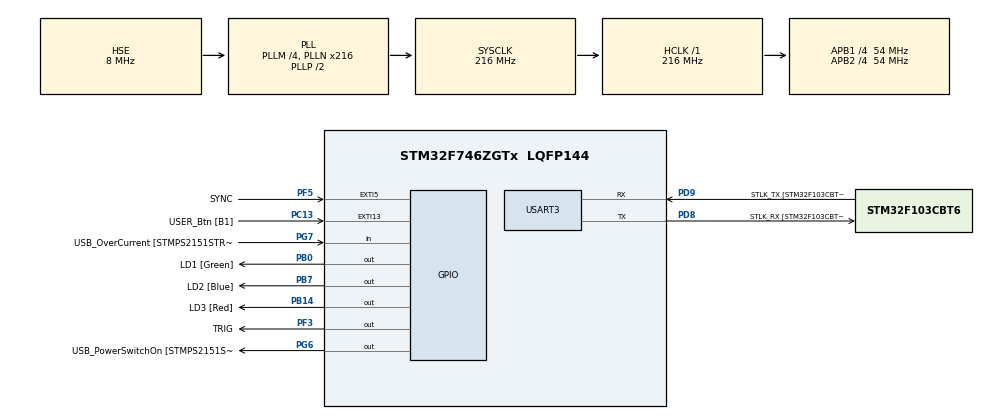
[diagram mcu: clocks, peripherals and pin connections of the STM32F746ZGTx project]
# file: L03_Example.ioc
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Mcu.Family=STM32F7
Mcu.Name=STM32F746ZGTx
Mcu.Package=LQFP144
NVIC.EXTI15_10_IRQn=true\:0\:0\:false\:false\:true\:true\:true\:true
NVIC.EXTI9_5_IRQn=true\:0\:0\:false\:false\:true\:true\:true\:true
NVIC.PriorityGroup=NVIC_PRIORITYGROUP_4
NVIC.TIM1_TRG_COM_TIM11_IRQn=true\:0\:0\:false\:false\:true\:true\:true\:true
NVIC.TIM7_IRQn=true\:0\:0\:false\:false\:true\:true\:true\:true
PA1.GPIO_Label=RMII_REF_CLK [LAN8742A-CZ-TR_REFCLK0]
PA1.Signal=ETH_REF_CLK
PA10.GPIO_Label=USB_ID
PA10.Signal=USB_OTG_FS_ID
PA11.GPIO_Label=USB_DM
PA11.Signal=USB_OTG_FS_DM
PA12.GPIO_Label=USB_DP
PA12.Signal=USB_OTG_FS_DP
PA13.GPIO_Label=TMS
PA13.Mode=Serial_Wire
PA13.Signal=SYS_JTMS-SWDIO
PA14.GPIO_Label=TCK
PA14.Mode=Serial_Wire
PA14.Signal=SYS_JTCK-SWCLK
PA2.GPIO_Label=RMII_MDIO [LAN8742A-CZ-TR_MDIO]
PA2.Signal=ETH_MDIO
PA7.GPIO_Label=RMII_CRS_DV [LAN8742A-CZ-TR_CRS_DV]
PA7.Signal=ETH_CRS_DV
PA8.GPIO_Label=USB_SOF [TP1]
PA8.Signal=USB_OTG_FS_SOF
PA9.GPIO_Label=USB_VBUS
PA9.Signal=USB_OTG_FS_VBUS
PB0.GPIO_Label=LD1 [Green]
PB0.Signal=GPIO_Output
PB13.GPIO_Label=RMII_TXD1 [LAN8742A-CZ-TR_TXD1]
PB13.Signal=ETH_TXD1
PB14.GPIO_Label=LD3 [Red]
PB14.Signal=GPIO_Output
PB3.GPIO_Label=SW0
PB3.Signal=SYS_JTDO-SWO
PB7.GPIO_Label=LD2 [Blue]
PB7.Signal=GPIO_Output
PC1.GPIO_Label=RMII_MDC [LAN8742A-CZ-TR_MDC]
PC1.Signal=ETH_MDC
PC13.GPIO_Label=USER_Btn [B1]
PC13.Signal=GPXTI13
PC14/OSC32_IN.Mode=LSE-External-Oscillator
PC14/OSC32_IN.Signal=RCC_OSC32_IN
PC15/OSC32_OUT.Mode=LSE-External-Oscillator
PC15/OSC32_OUT.Signal=RCC_OSC32_OUT
PC4.GPIO_Label=RMII_RXD0 [LAN8742A-CZ-TR_RXD0]
PC4.Signal=ETH_RXD0
PC5.GPIO_Label=RMII_RXD1 [LAN8742A-CZ-TR_RXD1]
PC5.Signal=ETH_RXD1
PD8.GPIO_Label=STLK_RX [STM32F103CBT6_PA3]
PD8.GPIO_PuPd=GPIO_PULLUP
PD8.Mode=Asynchronous
PD8.Signal=USART3_TX
PD9.GPIO_Label=STLK_TX [STM32F103CBT6_PA2]
PD9.GPIO_PuPd=GPIO_PULLUP
PD9.Mode=Asynchronous
PD9.Signal=USART3_RX
PF3.GPIO_Label=TRIG
PF3.GPIO_Speed=GPIO_SPEED_FREQ_VERY_HIGH
PF3.Signal=GPIO_Output
PF5.GPIO_Label=SYNC
PF5.GPIO_PuPd=GPIO_PULLUP
PF5.Signal=GPXTI5
PG11.GPIO_Label=RMII_TX_EN [LAN8742A-CZ-TR_TXEN]
PG11.Signal=ETH_TX_EN
PG13.GPIO_Label=RMII_TXD0 [LAN8742A-CZ-TR_TXD0]
PG13.Signal=ETH_TXD0
PG6.GPIO_Label=USB_PowerSwitchOn [STMPS2151STR_EN]
PG6.Signal=GPIO_Output
PG7.GPIO_Label=USB_OverCurrent [STMPS2151STR_FAULT]
PG7.Signal=GPIO_Input
PH0/OSC_IN.GPIO_Label=MCO [STM32F103CBT6_PA8]
PH0/OSC_IN.Mode=HSE-External-Clock-Source
PH0/OSC_IN.Signal=RCC_OSC_IN
PH1/OSC_OUT.Mode=HSE-External-Clock-Source
PH1/OSC_OUT.Signal=RCC_OSC_OUT
ProjectManager.HeapSize=0x200
ProjectManager.StackSize=0x400
ProjectManager.TargetToolchain=STM32CubeIDE
RCC.48MHZClocksFreq_Value=24000000
RCC.AHBFreq_Value=216000000
RCC.APB1CLKDivider=RCC_HCLK_DIV4
RCC.APB1Freq_Value=54000000
RCC.APB1TimFreq_Value=108000000
RCC.APB2CLKDivider=RCC_HCLK_DIV4
RCC.APB2Freq_Value=54000000
RCC.APB2TimFreq_Value=108000000
RCC.CortexFreq_Value=216000000
RCC.HCLKFreq_Value=216000000
RCC.HSE_VALUE=8000000
RCC.HSI_VALUE=16000000
RCC.PLLM=4
RCC.PLLMUL=RCC_PLL_MUL9
RCC.PLLN=216
RCC.PLLQ=3
RCC.PLLSourceVirtual=RCC_PLLSOURCE_HSE
RCC.PRESCALERUSB=RCC_USBCLKSOURCE_PLL_DIV1_5
RCC.SYSCLKFreq_VALUE=216000000
RCC.SYSCLKSource=RCC_SYSCLKSOURCE_PLLCLK
RCC.SYSCLKSourceVirtual=RCC_SYSCLKSOURCE_PLLCLK
RCC.USBFreq_Value=144000000
RCC.VCOOutputFreq_Value=432000000
TIM11.Period=100 - 1
TIM11.Prescaler=108 - 1
TIM7.Period=5000 - 1
TIM7.Prescaler=108 - 1
USART3.VirtualMode-Asynchronous=VM_ASYNC
VP_TIM11_VS_ClockSourceINT.Mode=Enable_Timer
VP_TIM7_VS_ClockSourceINT.Mode=Enable_Timer
board=NUCLEO-F746ZG

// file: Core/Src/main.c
/* USER CODE BEGIN Header */
/**
  ******************************************************************************
  * @file           : main.c
  * @brief          : Main program body
  ******************************************************************************
  * @attention
  *
  * Copyright (c) 2024 STMicroelectronics.
  * All rights reserved.
  *
  * This software is licensed under terms that can be found in the LICENSE file
  * in the root directory of this software component.
  * If no LICENSE file comes with this software, it is provided AS-IS.
  *
  ******************************************************************************
  */
#define TASK 5
/* USER CODE END Header */
#include "main.h"
#include "tim.h"
#include "usart.h"
#include "gpio.h"

/* USER CODE BEGIN Includes */
#if TASK == 3
#include <stdio.h>
#endif
#if TASK == 4
#include <stdio.h>
#endif
#if TASK == 5
#include <stdio.h>
#endif
/* USER CODE END Includes */

/* USER CODE BEGIN PV */
#if TASK == 1
GPIO_PinState LD1_State;
#endif
#if TASK == 2
GPIO_PinState LD1_State;
#endif
#if TASK == 3
GPIO_PinState LD1_State;
uint32_t TimerAutoreloadRegister;
#endif
#if TASK == 4
GPIO_PinState LD1_State;
GPIO_PinState TRIG_State;
uint32_t TimerAutoreloadRegister;
#endif
#if TASK == 5
GPIO_PinState LD1_State;
GPIO_PinState TRIG_State;
uint32_t TimerAutoreloadRegister;
#endif
/* USER CODE END PV */

void SystemClock_Config(void);

/* USER CODE BEGIN 0 */
#if TASK == 2
/**
  * @brief  Period elapsed callback in non-blocking mode
  * @param  htim TIM handle
  * @retval None
  */
void HAL_TIM_PeriodElapsedCallback(TIM_HandleTypeDef *htim)
{
  if(htim == &htim7)
  {
    HAL_GPIO_TogglePin(LD1_GPIO_Port, LD1_Pin);
    LD1_State = HAL_GPIO_ReadPin(LD1_GPIO_Port, LD1_Pin);
  }
}
#endif
#if TASK == 3
/**
  * @brief  Period elapsed callback in non-blocking mode
  * @param  htim TIM handle
  * @retval None
  */
void HAL_TIM_PeriodElapsedCallback(TIM_HandleTypeDef *htim)
{
  if(htim == &htim7)
  {
    HAL_GPIO_TogglePin(LD1_GPIO_Port, LD1_Pin);
    LD1_State = HAL_GPIO_ReadPin(LD1_GPIO_Port, LD1_Pin);
  }
}
#endif
#if TASK == 4
/**
  * @brief  EXTI line detection callbacks.
  * @param  GPIO_Pin Specifies the pins connected EXTI line
  * @retval None
  */
void HAL_GPIO_EXTI_Callback(uint16_t GPIO_Pin)
{
  if(GPIO_Pin == USER_Btn_Pin)
  {
    HAL_GPIO_WritePin(LD1_GPIO_Port, LD1_Pin, GPIO_PIN_SET);
    LD1_State = HAL_GPIO_ReadPin(LD1_GPIO_Port, LD1_Pin);
    __HAL_TIM_SET_COUNTER(&htim7, 0);
    __HAL_TIM_SET_AUTORELOAD(&htim7, TimerAutoreloadRegister);
    HAL_TIM_Base_Start_IT(&htim7);
  }
}
/**
  * @brief  Period elapsed callback in non-blocking mode
  * @param  htim TIM handle
  * @retval None
  */
void HAL_TIM_PeriodElapsedCallback(TIM_HandleTypeDef *htim)
{
  if(htim == &htim7)
  {
    HAL_TIM_Base_Stop_IT(&htim7);
    HAL_GPIO_WritePin(LD1_GPIO_Port, LD1_Pin, GPIO_PIN_RESET);
    LD1_State = HAL_GPIO_ReadPin(LD1_GPIO_Port, LD1_Pin);
    HAL_GPIO_WritePin(TRIG_GPIO_Port, TRIG_Pin, GPIO_PIN_SET);
    TRIG_State = HAL_GPIO_ReadPin(TRIG_GPIO_Port, TRIG_Pin);
    HAL_TIM_Base_Start_IT(&htim11);
  }
  if(htim == &htim11)
  {
    HAL_TIM_Base_Stop_IT(&htim11);
    HAL_GPIO_WritePin(TRIG_GPIO_Port, TRIG_Pin, GPIO_PIN_RESET);
    TRIG_State = HAL_GPIO_ReadPin(TRIG_GPIO_Port, TRIG_Pin);
  }
}
#endif
#if TASK == 5
/**
  * @brief  EXTI line detection callbacks.
  * @param  GPIO_Pin Specifies the pins connected EXTI line
  * @retval None
  */
void HAL_GPIO_EXTI_Callback(uint16_t GPIO_Pin)
{
  if(GPIO_Pin == SYNC_Pin)
  {
    HAL_GPIO_WritePin(LD1_GPIO_Port, LD1_Pin, GPIO_PIN_SET);
    LD1_State = HAL_GPIO_ReadPin(LD1_GPIO_Port, LD1_Pin);
    __HAL_TIM_SET_COUNTER(&htim7, 0);
    __HAL_TIM_SET_AUTORELOAD(&htim7, TimerAutoreloadRegister);
    HAL_TIM_Base_Start_IT(&htim7);
  }
}
/**
  * @brief  Period elapsed callback in non-blocking mode
  * @param  htim TIM handle
  * @retval None
  */
void HAL_TIM_PeriodElapsedCallback(TIM_HandleTypeDef *htim)
{
  if(htim == &htim7)
  {
    HAL_TIM_Base_Stop_IT(&htim7);
    HAL_GPIO_WritePin(LD1_GPIO_Port, LD1_Pin, GPIO_PIN_RESET);
    LD1_State = HAL_GPIO_ReadPin(LD1_GPIO_Port, LD1_Pin);
    HAL_GPIO_WritePin(TRIG_GPIO_Port, TRIG_Pin, GPIO_PIN_SET);
    TRIG_State = HAL_GPIO_ReadPin(TRIG_GPIO_Port, TRIG_Pin);
    HAL_TIM_Base_Start_IT(&htim11);
  }
  if(htim == &htim11)
  {
    HAL_TIM_Base_Stop_IT(&htim11);
    HAL_GPIO_WritePin(TRIG_GPIO_Port, TRIG_Pin, GPIO_PIN_RESET);
    TRIG_State = HAL_GPIO_ReadPin(TRIG_GPIO_Port, TRIG_Pin);
  }
}
#endif
/* USER CODE END 0 */

int main(void)
{

  /* MCU Configuration--------------------------------------------------------*/

  /* Reset of all peripherals, Initializes the Flash interface and the Systick. */
  HAL_Init();

  /* Configure the system clock */
  SystemClock_Config();

  /* Initialize all configured peripherals */
  MX_GPIO_Init();
  MX_USART3_UART_Init();
  MX_TIM7_Init();
  MX_TIM11_Init();
  /* USER CODE BEGIN 2 */
  #if TASK == 1
  HAL_TIM_Base_Start(&htim7);
  #endif
  #if TASK == 2
  HAL_TIM_Base_Start_IT(&htim7);
  #endif
  #if TASK == 3
  HAL_TIM_Base_Start_IT(&htim7);
  #endif
  #if TASK == 4
  TimerAutoreloadRegister = __HAL_TIM_GET_AUTORELOAD(&htim7);
  #endif
  #if TASK == 5
  TimerAutoreloadRegister = __HAL_TIM_GET_AUTORELOAD(&htim7);
  #endif
  /* USER CODE END 2 */

  /* Infinite loop */
  /* USER CODE BEGIN WHILE */
  while (1)
  {
    #if TASK == 1
    if(__HAL_TIM_GET_FLAG(&htim7, TIM_FLAG_UPDATE))
    {
      __HAL_TIM_CLEAR_FLAG(&htim7, TIM_FLAG_UPDATE);

      HAL_GPIO_TogglePin(LD1_GPIO_Port, LD1_Pin);
      LD1_State = HAL_GPIO_ReadPin(LD1_GPIO_Port, LD1_Pin);
    }
    #endif
    #if TASK == 3
    uint8_t RxData_TimerPeriod_us[] = "0000";
    if(HAL_UART_Receive(&huart3, RxData_TimerPeriod_us, sizeof(RxData_TimerPeriod_us) - 1, HAL_MAX_DELAY) == HAL_OK)
    {
      if(sscanf((char*)RxData_TimerPeriod_us, "%lu", &TimerAutoreloadRegister) == 1)
      {
        if(TimerAutoreloadRegister >= 1000 && TimerAutoreloadRegister <= 9999)
        {
          HAL_TIM_Base_Stop_IT(&htim7);
          __HAL_TIM_SET_COUNTER(&htim7, 0);
          __HAL_TIM_SET_AUTORELOAD(&htim7, TimerAutoreloadRegister);
          HAL_TIM_Base_Start_IT(&htim7);
        }
      }
    }
    #endif
    #if TASK == 4
    uint8_t RxData_TimerPeriod_us[] = "0000";
    if(HAL_UART_Receive(&huart3, RxData_TimerPeriod_us, sizeof(RxData_TimerPeriod_us) - 1, HAL_MAX_DELAY) == HAL_OK)
    {
      uint32_t TimerAutoreloadRegister_Tmp = 0;
      if(sscanf((char*)RxData_TimerPeriod_us, "%lu", &TimerAutoreloadRegister_Tmp) == 1)
      {
        if(TimerAutoreloadRegister_Tmp >= 1000 && TimerAutoreloadRegister_Tmp <= 9999)
        {
          TimerAutoreloadRegister = TimerAutoreloadRegister_Tmp;
        }
      }
    }
    #endif
    #if TASK == 5
    uint8_t RxData_Phase_deg[] = "000\r";
    if(HAL_UART_Receive(&huart3, RxData_Phase_deg, sizeof(RxData_Phase_deg) - 1, HAL_MAX_DELAY) == HAL_OK)
    {
      uint32_t Phase = 0;
      if(sscanf((char*)RxData_Phase_deg, "%lu", &Phase) == 1)
      {
        if(Phase >= 10 && Phase <= 160)
        {
          TimerAutoreloadRegister = 10000.0f*(Phase / 180.0f) - 1;
        }
      }
    }
    #endif
    /* USER CODE END WHILE */

  }
}

void SystemClock_Config(void)
{
  RCC_OscInitTypeDef RCC_OscInitStruct = {0};
  RCC_ClkInitTypeDef RCC_ClkInitStruct = {0};

  /** Configure LSE Drive Capability
  */
  HAL_PWR_EnableBkUpAccess();

  /** Configure the main internal regulator output voltage
  */
  __HAL_RCC_PWR_CLK_ENABLE();
  __HAL_PWR_VOLTAGESCALING_CONFIG(PWR_REGULATOR_VOLTAGE_SCALE1);

  /** Initializes the RCC Oscillators according to the specified parameters
  * in the RCC_OscInitTypeDef structure.
  */
  RCC_OscInitStruct.OscillatorType = RCC_OSCILLATORTYPE_HSE;
  RCC_OscInitStruct.HSEState = RCC_HSE_BYPASS;
  RCC_OscInitStruct.PLL.PLLState = RCC_PLL_ON;
  RCC_OscInitStruct.PLL.PLLSource = RCC_PLLSOURCE_HSE;
  RCC_OscInitStruct.PLL.PLLM = 4;
  RCC_OscInitStruct.PLL.PLLN = 216;
  RCC_OscInitStruct.PLL.PLLP = RCC_PLLP_DIV2;
  RCC_OscInitStruct.PLL.PLLQ = 3;
  if (HAL_RCC_OscConfig(&RCC_OscInitStruct) != HAL_OK)
  {
    Error_Handler();
  }

  /** Activate the Over-Drive mode
  */
  if (HAL_PWREx_EnableOverDrive() != HAL_OK)
  {
    Error_Handler();
  }

  /** Initializes the CPU, AHB and APB buses clocks
  */
  RCC_ClkInitStruct.ClockType = RCC_CLOCKTYPE_HCLK|RCC_CLOCKTYPE_SYSCLK
                              |RCC_CLOCKTYPE_PCLK1|RCC_CLOCKTYPE_PCLK2;
  RCC_ClkInitStruct.SYSCLKSource = RCC_SYSCLKSOURCE_PLLCLK;
  RCC_ClkInitStruct.AHBCLKDivider = RCC_SYSCLK_DIV1;
  RCC_ClkInitStruct.APB1CLKDivider = RCC_HCLK_DIV4;
  RCC_ClkInitStruct.APB2CLKDivider = RCC_HCLK_DIV4;

  if (HAL_RCC_ClockConfig(&RCC_ClkInitStruct, FLASH_LATENCY_7) != HAL_OK)
  {
    Error_Handler();
  }
}

void Error_Handler(void)
{
  __disable_irq();
  while (1)
  {
  }
}
